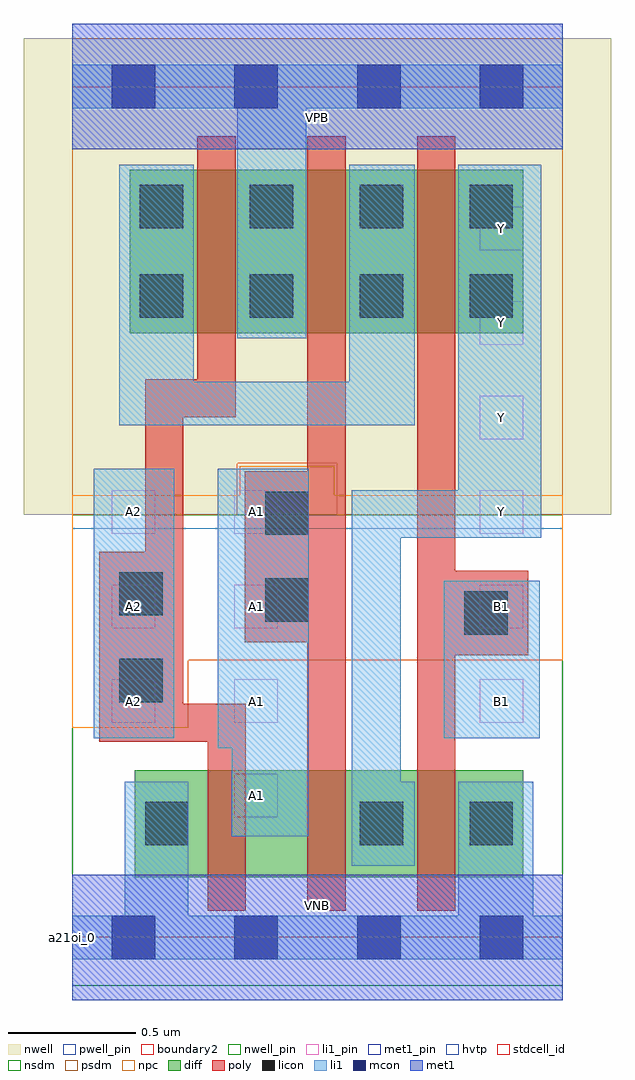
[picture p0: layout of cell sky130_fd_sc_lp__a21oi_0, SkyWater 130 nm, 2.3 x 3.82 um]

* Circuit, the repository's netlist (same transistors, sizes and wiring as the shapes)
* Copyright 2020 The SkyWater PDK Authors
*
* Licensed under the Apache License, Version 2.0 (the "License");
* you may not use this file except in compliance with the License.
* You may obtain a copy of the License at
*
*     https://www.apache.org/licenses/LICENSE-2.0
*
* Unless required by applicable law or agreed to in writing, software
* distributed under the License is distributed on an "AS IS" BASIS,
* WITHOUT WARRANTIES OR CONDITIONS OF ANY KIND, either express or implied.
* See the License for the specific language governing permissions and
* limitations under the License.
*
* SPDX-License-Identifier: Apache-2.0

.SUBCKT sky130_fd_sc_lp__a21oi_0 A1 A2 B1 VGND VNB VPB VPWR Y
*.PININFO A1:I A2:I B1:I VGND:I VNB:I VPB:I VPWR:I Y:O
MMPA0 pndA A1 VPWR VPB sky130_fd_pr__pfet_01v8_hvt m=1 w=0.64U l=0.15U mult=1 sa=0.265
+ sb=0.265 sd=0.28 area=0.063 perim=1.14
MMPA1 pndA A2 VPWR VPB sky130_fd_pr__pfet_01v8_hvt m=1 w=0.64U l=0.15U mult=1 sa=0.265
+ sb=0.265 sd=0.28 area=0.063 perim=1.14
MMPB0 Y B1 pndA VPB sky130_fd_pr__pfet_01v8_hvt m=1 w=0.64U l=0.15U mult=1 sa=0.265
+ sb=0.265 sd=0.28 area=0.063 perim=1.14
MMNA0 Y A1 sndA1 VNB sky130_fd_pr__nfet_01v8 m=1 w=0.42U l=0.15U mult=1 sa=0.265
+ sb=0.265 sd=0.28 area=0.063 perim=1.14
MMNA1 sndA1 A2 VGND VNB sky130_fd_pr__nfet_01v8 m=1 w=0.42U l=0.15U mult=1 sa=0.265
+ sb=0.265 sd=0.28 area=0.063 perim=1.14
MMNB0 Y B1 VGND VNB sky130_fd_pr__nfet_01v8 m=1 w=0.42U l=0.15U mult=1 sa=0.265
+ sb=0.265 sd=0.28 area=0.063 perim=1.14
.ENDS sky130_fd_sc_lp__a21oi_0

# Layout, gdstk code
import gdstk
lib = gdstk.Library(unit=1e-6, precision=1e-09)
def R(c, l, rs):  # rectangles x0, y0, x1, y1
    for r in rs: c.add(gdstk.rectangle(r[:2], r[2:], *l))
def A(c, l, x, y, w, h, nx, ny, dx, dy):  # array of equal rectangles
    R(c, l, [(x+i*dx, y+j*dy, x+i*dx+w, y+j*dy+h) for i in range(nx) for j in range(ny)])
def P(c, l, *ps):  # polygons
    for p in ps: c.add(gdstk.Polygon(p, *l))
nwell_pin = (64, 16)
nwell = (64, 20)
diff = (65, 20)
poly = (66, 20)
licon = (66, 44)
li1_pin = (67, 16)
li1 = (67, 20)
mcon = (67, 44)
met1_pin = (68, 16)
met1 = (68, 20)
hvtp = (78, 44)
stdcell_id = (81, 4)
nsdm = (93, 44)
psdm = (94, 20)
npc = (95, 20)
pwell_pin = (122, 16)
boundary2 = (236, 0)

sky130_fd_sc_lp__a21oi_0 = lib.new_cell('sky130_fd_sc_lp__a21oi_0')
R(sky130_fd_sc_lp__a21oi_0, nwell_pin, [(0,3.085,1.92,3.33)])
R(sky130_fd_sc_lp__a21oi_0, nwell, [(-0.19,1.655,2.11,3.52)])
R(sky130_fd_sc_lp__a21oi_0, diff, [(0.245,0.235,1.765,0.655), (0.225,2.365,1.765,3.005)])
P(sky130_fd_sc_lp__a21oi_0, poly, [(0.68,0.915),(0.435,0.915),(0.435,2.035),(0.64,2.035),(0.64,3.135),(0.49,3.135),(0.49,2.185),(0.285,2.185),(0.285,1.51),(0.105,1.51),(0.105,0.765),(0.53,0.765),(0.53,0.105),(0.68,0.105)],
  [(1.07,3.135),(0.92,3.135),(0.92,1.825),(0.675,1.825),(0.675,1.155),(0.92,1.155),(0.92,0.105),(1.07,0.105)],
  [(1.785,1.435),(1.5,1.435),(1.5,3.135),(1.35,3.135),(1.35,0.105),(1.5,0.105),(1.5,1.105),(1.785,1.105)])
A(sky130_fd_sc_lp__a21oi_0, licon, 0.265, 2.425, 0.17, 0.17, 4, 2, 0.43, 0.35)
R(sky130_fd_sc_lp__a21oi_0, licon, [(0.285,0.36,0.455,0.53), (1.125,0.36,1.295,0.53), (1.555,0.36,1.725,0.53), (0.185,0.92,0.355,1.09), (1.535,1.185,1.705,1.355), (0.755,1.235,0.925,1.405), (0.185,1.26,0.355,1.43), (0.755,1.575,0.925,1.745)])
A(sky130_fd_sc_lp__a21oi_0, li1_pin, 0.635, 0.47, 0.17, 0.17, 1, 4, 0, 0.37)
A(sky130_fd_sc_lp__a21oi_0, li1_pin, 0.155, 0.84, 0.17, 0.17, 1, 3, 0, 0.37)
A(sky130_fd_sc_lp__a21oi_0, li1_pin, 1.595, 0.84, 0.17, 0.17, 1, 6, 0, 0.37)
R(sky130_fd_sc_lp__a21oi_0, li1, [(0.085,0.78,0.4,1.835), (1.455,0.78,1.83,1.395)])
P(sky130_fd_sc_lp__a21oi_0, li1, [(0.645,2.345),(0.645,3.245),(0,3.245),(0,3.415),(1.92,3.415),(1.92,3.245),(0.915,3.245),(0.915,2.345)],
  [(0.205,0.085),(0.205,0.61),(0.455,0.61),(0.455,0.085),(1.51,0.085),(1.51,0.61),(1.805,0.61),(1.805,0.085),(1.92,0.085),(1.92,-0.085),(0,-0.085),(0,0.085)],
  [(0.925,1.835),(0.57,1.835),(0.57,0.74),(0.625,0.74),(0.625,0.395),(0.925,0.395)],
  [(1.51,1.75),(1.51,3.025),(1.835,3.025),(1.835,1.565),(1.285,1.565),(1.285,0.61),(1.34,0.61),(1.34,0.28),(1.095,0.28),(1.095,1.75)],
  [(0.475,2.175),(1.085,2.175),(1.085,3.025),(1.34,3.025),(1.34,2.005),(0.185,2.005),(0.185,3.025),(0.475,3.025)])
A(sky130_fd_sc_lp__a21oi_0, mcon, 0.155, -0.085, 0.17, 0.17, 4, 2, 0.48, 3.33)
R(sky130_fd_sc_lp__a21oi_0, met1_pin, [(0,0,1.92,0.245), (0,3.085,1.92,3.33)])
R(sky130_fd_sc_lp__a21oi_0, met1, [(0,-0.245,1.92,0.245), (0,3.085,1.92,3.575)])
R(sky130_fd_sc_lp__a21oi_0, hvtp, [(0,1.6,1.92,3.33)])
R(sky130_fd_sc_lp__a21oi_0, stdcell_id, [(0,0,1.92,3.33)])
R(sky130_fd_sc_lp__a21oi_0, nsdm, [(0,-0.19,1.92,1.655)])
P(sky130_fd_sc_lp__a21oi_0, psdm, [(1.92,3.52),(0,3.52),(0,1.655),(0.645,1.655),(0.645,1.855),(1.035,1.855),(1.035,1.655),(1.92,1.655)])
P(sky130_fd_sc_lp__a21oi_0, npc, [(1.92,1.73),(1.025,1.73),(1.025,1.845),(0.655,1.845),(0.655,1.73),(0,1.73),(0,0.82),(0.455,0.82),(0.455,1.085),(1.92,1.085)])
R(sky130_fd_sc_lp__a21oi_0, pwell_pin, [(0,0,1.92,0.245)])
R(sky130_fd_sc_lp__a21oi_0, boundary2, [(0,0,1.92,3.33)])
sky130_fd_sc_lp__a21oi_0.add(gdstk.Label('VNB', (0.96,0.123), layer=64, texttype=59))
sky130_fd_sc_lp__a21oi_0.add(gdstk.Label('VPB', (0.96,3.208), layer=64, texttype=5))
sky130_fd_sc_lp__a21oi_0.add(gdstk.Label('a21oi_0', (0,0), layer=83, texttype=44))
sky130_fd_sc_lp__a21oi_0.add(gdstk.Label('VPWR', (0.96,3.208), layer=68, texttype=5))
sky130_fd_sc_lp__a21oi_0.add(gdstk.Label('VGND', (0.96,0.123), layer=68, texttype=5))
sky130_fd_sc_lp__a21oi_0.add(gdstk.Label('A1', (0.72,0.555), layer=67, texttype=5))
sky130_fd_sc_lp__a21oi_0.add(gdstk.Label('A1', (0.72,0.925), layer=67, texttype=5))
sky130_fd_sc_lp__a21oi_0.add(gdstk.Label('A1', (0.72,1.295), layer=67, texttype=5))
sky130_fd_sc_lp__a21oi_0.add(gdstk.Label('A1', (0.72,1.665), layer=67, texttype=5))
sky130_fd_sc_lp__a21oi_0.add(gdstk.Label('A2', (0.24,0.925), layer=67, texttype=5))
sky130_fd_sc_lp__a21oi_0.add(gdstk.Label('A2', (0.24,1.295), layer=67, texttype=5))
sky130_fd_sc_lp__a21oi_0.add(gdstk.Label('A2', (0.24,1.665), layer=67, texttype=5))
sky130_fd_sc_lp__a21oi_0.add(gdstk.Label('B1', (1.68,0.925), layer=67, texttype=5))
sky130_fd_sc_lp__a21oi_0.add(gdstk.Label('B1', (1.68,1.295), layer=67, texttype=5))
sky130_fd_sc_lp__a21oi_0.add(gdstk.Label('Y', (1.68,1.665), layer=67, texttype=5))
sky130_fd_sc_lp__a21oi_0.add(gdstk.Label('Y', (1.68,2.035), layer=67, texttype=5))
sky130_fd_sc_lp__a21oi_0.add(gdstk.Label('Y', (1.68,2.405), layer=67, texttype=5))
sky130_fd_sc_lp__a21oi_0.add(gdstk.Label('Y', (1.68,2.775), layer=67, texttype=5))

lib.write_gds('sky130_fd_sc_lp__a21oi_0.gds')
